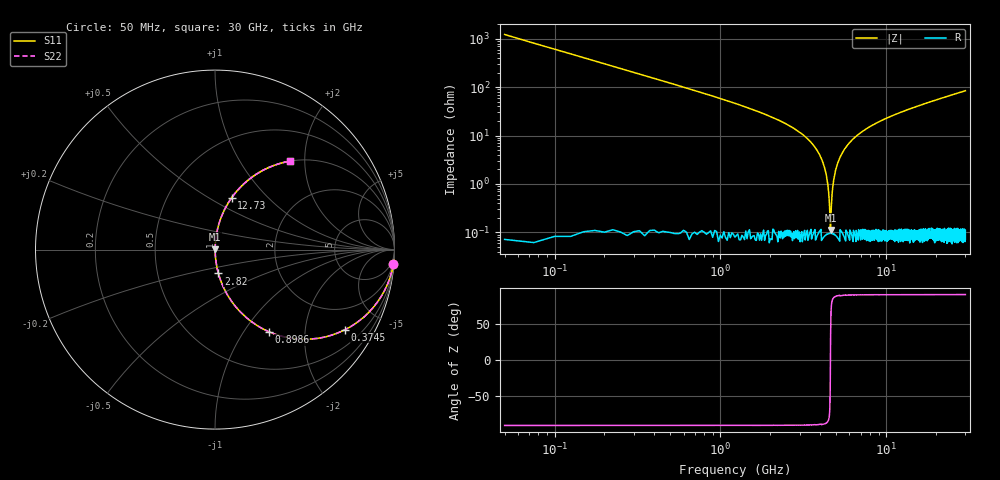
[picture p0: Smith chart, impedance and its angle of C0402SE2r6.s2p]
!	AVX Thin Film Operation 	Date: April 2014
!	Description: Accu-P® Series, Thin Film  SMD RF Capacitor
!	Part Number: 04025J2R6QBSTR
# MHZ S MA R 50
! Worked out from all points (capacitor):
!   1201 points, 50 MHz to 30 GHz, reference 50 ohm
!   read as one part in series: C = 2.6 pF near 199.8 MHz
!   lowest |Z| = 112 mohm at 4.617 GHz (marker M1)
!   series resonance near 4.607 GHz, so ESL is about 460 pH
!   S11 on the Smith chart (normalised r, x): 50 MHz: 1, -24; 374.5 MHz: 1.00, -3.25; 898.6 MHz: 1.00, -1.31; 2.82 GHz: 1.00, -0.27; 12.73 GHz: 1.00, +0.64; 30 GHz: 1.00, +1.69
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50  0.997 -4.7  0.081 85.3  0.081 85.3  0.997 -4.7
249.667  0.925 -22.2  0.379 67.7  0.379 67.7  0.925 -22.2
374.458  0.851 -31.6  0.524 58.4  0.524 58.4  0.851 -31.6
898.583  0.548 -56.7  0.836 33.2  0.836 33.2  0.548 -56.7
1597.417  0.319 -71.2  0.947 18.6  0.947 18.6  0.319 -71.2
2820.375  0.134 -81.9  0.99 7.7  0.99 7.7  0.134 -81.9
3544.167  0.07 -85.2  0.997 4.0  0.997 4.0  0.07 -85.2
4043.333  0.035 -86.5  0.998 2.0  0.998 2.0  0.035 -86.5
4292.917  0.019 -86.2  0.999 1.1  0.999 1.1  0.019 -86.2
4517.542  0.005289 -79.9  0.999 0.3  0.999 0.3  0.005289 -79.9
4617.375  0.001077 33.3  0.999 -0.0  0.999 -0.0  0.001077 33.3
4692.25  0.004945 79.2  0.999 -0.3  0.999 -0.3  0.004945 79.2
4866.958  0.015 85.6  0.999 -0.8  0.999 -0.8  0.015 85.6
5041.667  0.024 86.5  0.999 -1.4  0.999 -1.4  0.024 86.5
5615.708  0.053 86.0  0.998 -3.0  0.998 -3.0  0.053 86.0
6589.083  0.097 83.9  0.994 -5.5  0.994 -5.5  0.097 83.9
10058.29  0.223 76.9  0.974 -12.9  0.974 -12.9  0.223 76.9
12728.83  0.304 72.2  0.952 -17.7  0.952 -17.7  0.304 72.2
15025  0.365 68.5  0.93 -21.4  0.93 -21.4  0.365 68.5
20016.67  0.479 61.3  0.877 -28.6  0.877 -28.6  0.479 61.3
25033.29  0.572 55.1  0.82 -34.9  0.82 -34.9  0.572 55.1
30000  0.645 49.8  0.763 -40.2  0.763 -40.2  0.645 49.8
